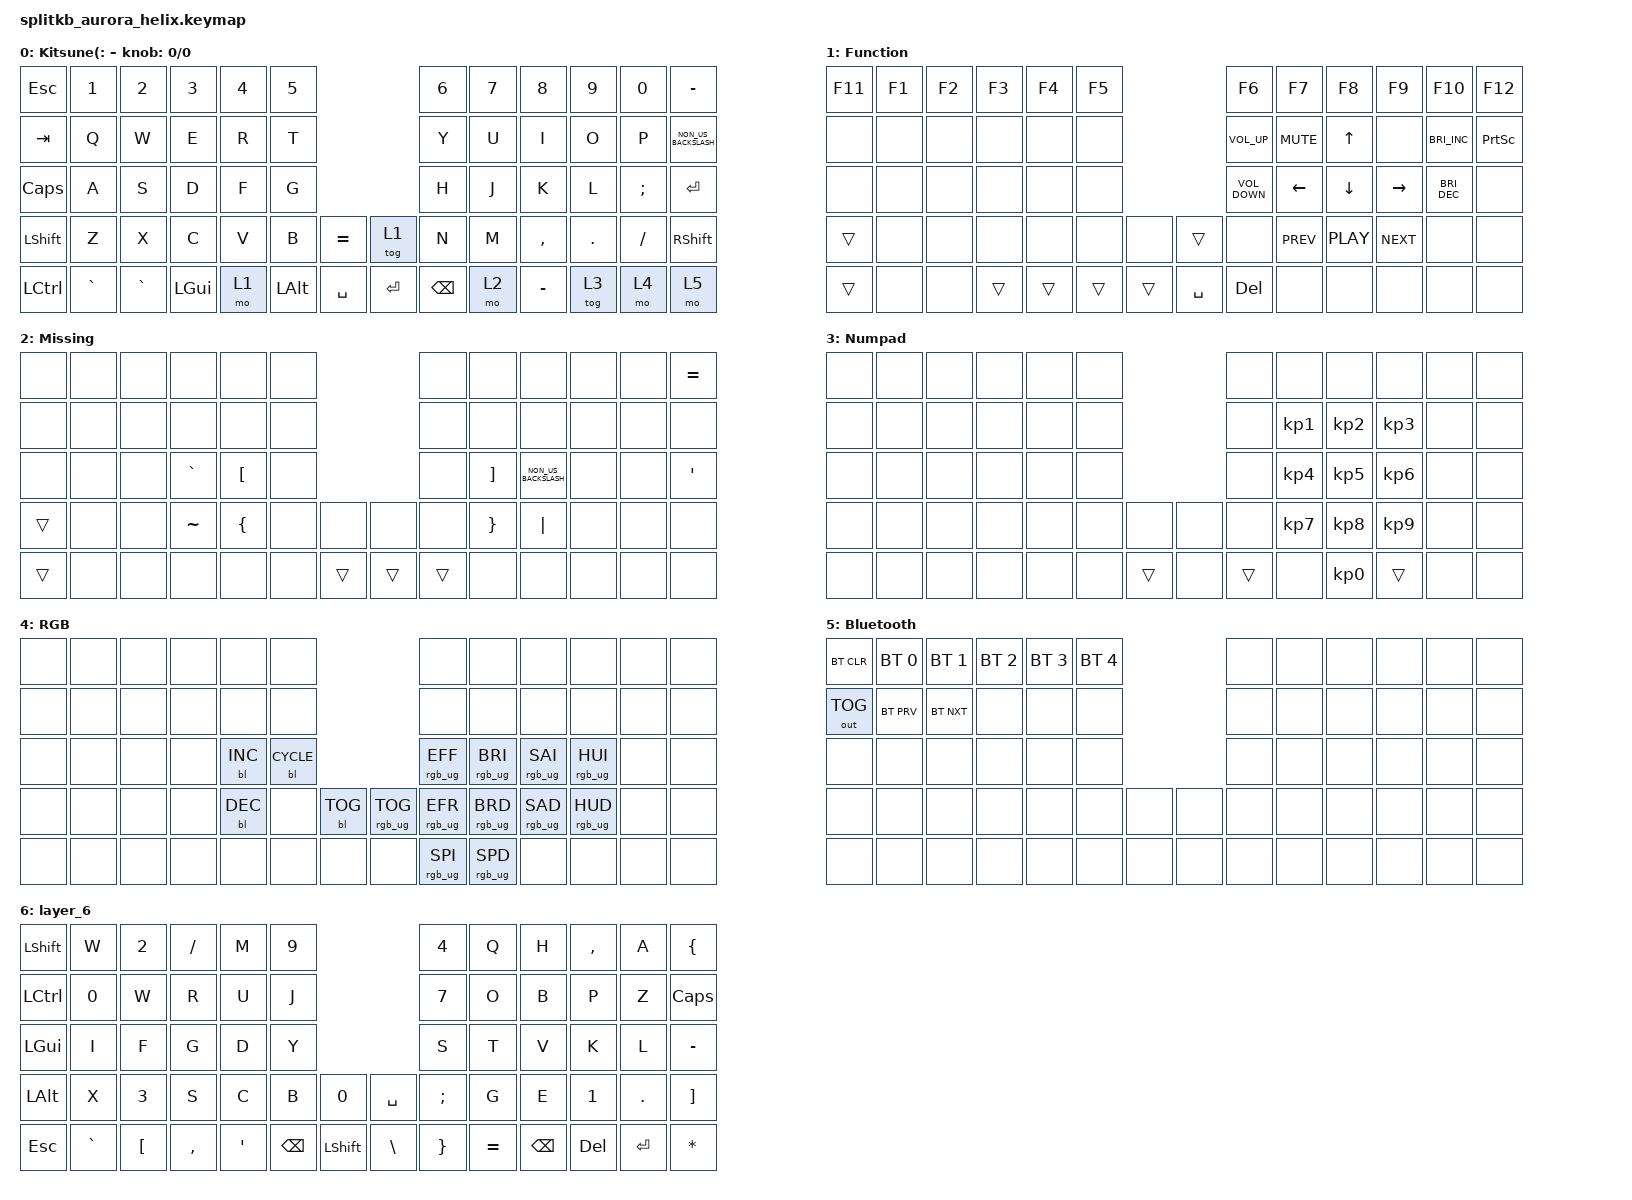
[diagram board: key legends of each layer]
/*
 * Copyright (c) 2023 The ZMK Contributors
 *
 * SPDX-License-Identifier: MIT
 */

#include <behaviors.dtsi>
#include <dt-bindings/zmk/backlight.h>
#include <dt-bindings/zmk/bt.h>
#include <dt-bindings/zmk/keys.h>
#include <dt-bindings/zmk/outputs.h>
#include <dt-bindings/zmk/rgb.h>

#define DEFAULT 0
#define LOWER  1
#define RAISE  2
#define ADJUST 3
#define TEST 4

/* Uncomment this block if using RGB
 */

&led_strip {
    chain-length = <6>;

    // chain-length = <38>; // Uncomment if using both per-key and underglow LEDs

    chain-length = <32>; // Uncomment if using only per-key LEDs.
};

/* NOTE: At the time of the creation of this keymap, there are no specified codes for 'eisuu' and 'kana' input in ZMK.
However, 'LANG1' and 'LANG2' are fully-functioning candidates for 'kana' and 'eisuu' input respectively.
As such, those are in use within the default layer at this time.*/

/ {
    keymap {
        compatible = "zmk,keymap";

        def {
            // ---------------------------------------------------------------------------------------------------------------------------------
            // | GRAVE  |   1    |   2    |   3    |   4    |   5    |                                      |   6    |   7    |   8    |   9    |   0    |  DEL   |
            // |  TAB   |   Q    |   W    |   E    |   R    |   T    |                                      |   Y    |   U    |   I    |   O    |   P    |  BSPC  |
            // |  CTRL  |   A    |   S    |   D    |   F    |   G    |                                      |   H    |   J    |   K    |   L    |   ;    |   '    |
            // |  SHIFT |   Z    |   X    |   C    |   V    |   B    |  LBKT  |                    |  RBKT  |   N    |   M    |   ,    |   .    |   /    |  RET   |
            // | ADJUST |  ESC   |  ALT   |  LGUI  | EISUU  | LOWER  | SPACE  |                    |  SPACE | RAISE  |  KANA  |  LEFT  |  DOWN  |  UP    |  RIGHT |

            display-name = "Kitsune(:";
            bindings = <
&kp ESCAPE        &kp N1     &kp N2     &kp N3    &kp N4  &kp N5                                &kp N6         &kp N7  &kp N8     &kp N9      &kp N0     &kp MINUS
&kp TAB           &kp Q      &kp W      &kp E     &kp R   &kp T                                 &kp Y          &kp U   &kp I      &kp O       &kp P      &kp NON_US_BACKSLASH
&kp CAPSLOCK      &kp A      &kp S      &kp D     &kp F   &kp G                                 &kp H          &kp J   &kp K      &kp L       &kp SEMI   &kp ENTER
&kp LSHFT         &kp Z      &kp X      &kp C     &kp V   &kp B         &kp EQUAL    &tog 1     &kp N          &kp M   &kp COMMA  &kp PERIOD  &kp SLASH  &kp RIGHT_SHIFT
&kp LEFT_CONTROL  &kp GRAVE  &kp GRAVE  &kp LGUI  &mo 1   &kp LEFT_ALT  &kp SPACE    &kp ENTER  &kp BACKSPACE  &mo 2   &kp MINUS  &tog 3      &mo 4      &mo 5
            >;

            sensor-bindings = <&inc_dec_kp 0 0>;
        };

        Aud {
            // ---------------------------------------------------------------------------------------------------------------------------------
            // |      |      |      |      |      |      |                                  |      |      |      |      |      |      |
            // |  ~   |  !   |  @   |  #   |  $   |  %   |                                  |  ^   |  &   |  *   |  (   |  )   |      |
            // |      |      |      |      |      |      |                                  |      |  _   |  +   |  {   |  }   | PIPE |
            // |      |      |      |      |      |      |  (   |                    |  )   |      |      |      | HOME | END  |      |
            // |      |      |      |      |      |      |      |                    |      |      |      |      |      |      |      |

            display-name = "Function";
            bindings = <
&kp F11  &kp F1  &kp F2  &kp F3  &kp F4  &kp F5                       &kp F6             &kp F7      &kp F8      &kp F9      &kp F10               &kp F12
&none    &none   &none   &none   &none   &none                        &kp C_VOLUME_UP    &kp K_MUTE  &kp UP      &none       &kp C_BRIGHTNESS_INC  &kp PRINTSCREEN
&none    &none   &none   &none   &none   &none                        &kp C_VOLUME_DOWN  &kp LEFT    &kp DOWN    &kp RIGHT   &kp C_BRIGHTNESS_DEC  &none
&trans   &none   &none   &none   &none   &none   &none     &trans     &none              &kp C_PREV  &kp C_PLAY  &kp C_NEXT  &none                 &none
&trans   &none   &none   &trans  &trans  &trans  &trans    &kp SPACE  &kp DELETE         &none       &none       &none       &none                 &none
            >;
        };

        Missing {
            display-name = "Missing";
            bindings = <
&none   &none  &none  &none      &none             &none                    &none   &none              &none                 &none  &none  &kp EQUAL
&none   &none  &none  &none      &none             &none                    &none   &none              &none                 &none  &none  &none
&none   &none  &none  &kp GRAVE  &kp LEFT_BRACKET  &none                    &none   &kp RIGHT_BRACKET  &kp NON_US_BACKSLASH  &none  &none  &kp SQT
&trans  &none  &none  &kp TILDE  &kp LEFT_BRACE    &none  &none     &none   &none   &kp RIGHT_BRACE    &kp PIPE              &none  &none  &none
&trans  &none  &none  &none      &none             &none  &trans    &trans  &trans  &none              &none                 &none  &none  &none
            >;
        };

        Numpad {
            display-name = "Numpad";
            bindings = <
&none  &none  &none  &none  &none  &none                   &none   &none            &none            &none            &none  &none
&none  &none  &none  &none  &none  &none                   &none   &kp KP_NUMBER_1  &kp KP_NUMBER_2  &kp KP_NUMBER_3  &none  &none
&none  &none  &none  &none  &none  &none                   &none   &kp KP_NUMBER_4  &kp KP_NUMBER_5  &kp KP_NUMBER_6  &none  &none
&none  &none  &none  &none  &none  &none  &none     &none  &none   &kp KP_NUMBER_7  &kp KP_NUMBER_8  &kp KP_NUMBER_9  &none  &none
&none  &none  &none  &none  &none  &none  &trans    &none  &trans  &none            &kp KP_NUMBER_0  &trans           &none  &none
            >;
        };

        RGB {
            display-name = "RGB";
            bindings = <
&none  &none  &none  &none  &none       &none                                        &none            &none            &none            &none            &none  &none
&none  &none  &none  &none  &none       &none                                        &none            &none            &none            &none            &none  &none
&none  &none  &none  &none  &bl BL_INC  &bl BL_CYCLE                                 &rgb_ug RGB_EFF  &rgb_ug RGB_BRI  &rgb_ug RGB_SAI  &rgb_ug RGB_HUI  &none  &none
&none  &none  &none  &none  &bl BL_DEC  &none         &bl BL_TOG    &rgb_ug RGB_TOG  &rgb_ug RGB_EFR  &rgb_ug RGB_BRD  &rgb_ug RGB_SAD  &rgb_ug RGB_HUD  &none  &none
&none  &none  &none  &none  &none       &none         &none         &none            &rgb_ug RGB_SPI  &rgb_ug RGB_SPD  &none            &none            &none  &none
            >;
        };

        BluetoothSetting {
            display-name = "Bluetooth";
            bindings = <
&bt BT_CLR    &bt BT_SEL 0  &bt BT_SEL 1  &bt BT_SEL 2  &bt BT_SEL 3  &bt BT_SEL 4                  &none  &none  &none  &none  &none  &none
&out OUT_TOG  &bt BT_PRV    &bt BT_NXT    &none         &none         &none                         &none  &none  &none  &none  &none  &none
&none         &none         &none         &none         &none         &none                         &none  &none  &none  &none  &none  &none
&none         &none         &none         &none         &none         &none         &none    &none  &none  &none  &none  &none  &none  &none
&none         &none         &none         &none         &none         &none         &none    &none  &none  &none  &none  &none  &none  &none
            >;
        };

        layer_6 {
            bindings = <
&kp LSHFT     &kp W      &kp N2    &kp FSLH   &kp M    &kp N9                                 &kp N4           &kp Q      &kp H     &kp COMMA  &kp A      &kp LEFT_BRACE
&kp LCTRL     &kp N0     &kp W     &kp R      &kp U    &kp J                                  &kp N7           &kp O      &kp B     &kp P      &kp Z      &kp CAPSLOCK
&kp LGUI      &kp I      &kp F     &kp G      &kp D    &kp Y                                  &kp S            &kp T      &kp V     &kp K      &kp L      &kp MINUS
&kp LEFT_ALT  &kp X      &kp N3    &kp S      &kp C    &kp B     &kp N0            &kp SPACE  &kp SEMI         &kp G      &kp E     &kp N1     &kp DOT    &kp RIGHT_BRACKET
&kp ESC       &kp GRAVE  &kp LBKT  &kp COMMA  &kp SQT  &kp BSPC  &kp LEFT_SHIFT    &kp BSLH   &kp RIGHT_BRACE  &kp EQUAL  &kp BSPC  &kp DEL    &kp ENTER  &kp STAR
            >;
        };
    };
};
